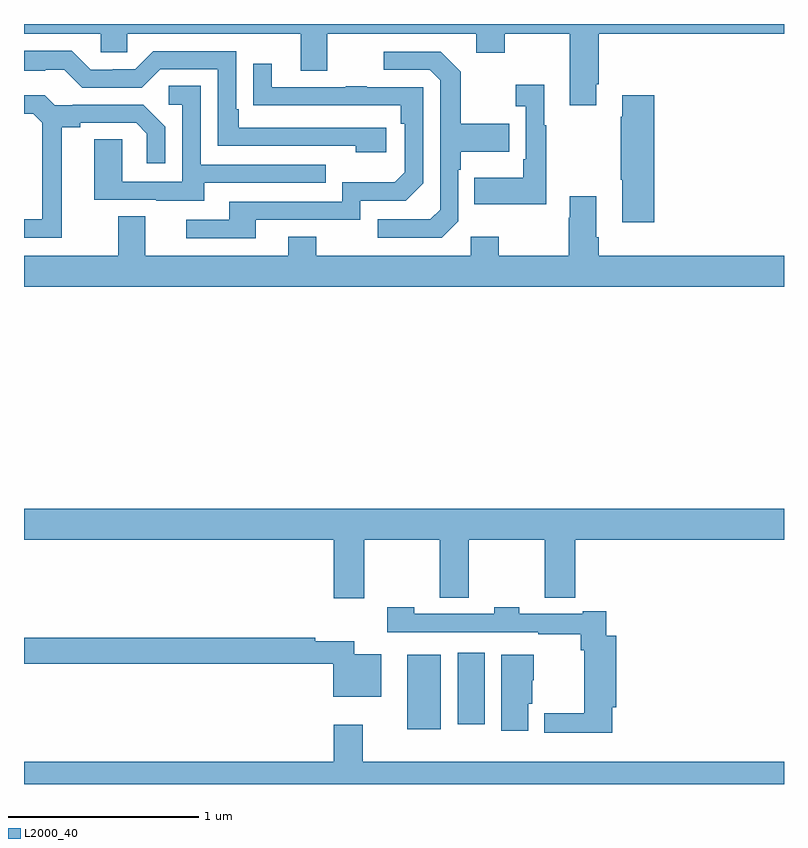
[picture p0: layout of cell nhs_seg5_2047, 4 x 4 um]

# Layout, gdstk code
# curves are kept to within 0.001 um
import gdstk
lib = gdstk.Library(unit=1e-6, precision=1e-09)
def R(c, l, rs):  # rectangles x0, y0, x1, y1
    for r in rs: c.add(gdstk.rectangle(r[:2], r[2:], *l))
def P(c, l, *ps):  # polygons
    for p in ps: c.add(gdstk.Polygon(p, *l))
L2000_40 = (2000, 40)

nhs_seg5_2047 = lib.new_cell('nhs_seg5_2047')
R(nhs_seg5_2047, L2000_40, [(233.018,865.088,233.194,865.48), (233.282,865.113,233.425,865.489)])
P(nhs_seg5_2047, L2000_40, [(234.013,868.483),(234.026,868.483),(234.026,868.748),(235,868.748),(235,868.799),(231,868.799),(231,868.748),(231.405,868.748),(231.405,868.65),(231.543,868.65),(231.543,868.748),(232.457,868.748),(232.457,868.554),(232.597,868.554),(232.597,868.748),(233.381,868.748),(233.381,868.649),(233.529,868.649),(233.529,868.748),(233.873,868.748),(233.873,868.371),(234.013,868.371)],
  [(232.906,868.254),(232.129,868.254),(232.129,868.351),(232.116,868.351),(232.116,868.656),(231.681,868.656),(231.585,868.56),(231.467,868.56),(231.467,868.557),(231.351,868.557),(231.251,868.657),(231,868.657),(231,868.553),(231.113,868.553),(231.113,868.557),(231.213,868.557),(231.306,868.464),(231.621,868.464),(231.717,868.56),(232.02,868.56),(232.02,868.158),(232.745,868.158),(232.745,868.124),(232.906,868.124)],
  [(233.286,867.762),(233.286,868.031),(233.299,868.031),(233.299,868.127),(233.555,868.127),(233.555,868.275),(233.299,868.275),(233.299,868.547),(233.193,868.653),(232.893,868.653),(232.893,868.557),(233.136,868.557),(233.19,868.503),(233.19,867.822),(233.139,867.771),(232.863,867.771),(232.863,867.675),(233.199,867.675)],
  [(232.219,867.768),(232.77,867.768),(232.77,867.87),(233.01,867.87),(233.1,867.96),(233.1,868.467),(232.805,868.467),(232.805,868.472),(232.693,868.472),(232.693,868.467),(232.303,868.467),(232.303,868.591),(232.207,868.591),(232.207,868.372),(232.984,868.371),(232.984,868.274),(233.004,868.274),(233.004,868.02),(232.951,867.967),(232.674,867.967),(232.674,867.864),(232.079,867.864),(232.079,867.768),(231.855,867.768),(231.855,867.672),(232.219,867.672)],
  [(233.749,868.267),(233.737,868.267),(233.737,868.48),(233.589,868.48),(233.589,868.367),(233.64,868.367),(233.64,868.087),(233.628,868.087),(233.628,867.991),(233.371,867.991),(233.371,867.851),(233.749,867.851)],
  [(231.949,867.963),(232.589,867.963),(232.589,868.059),(231.93,868.059),(231.93,868.475),(231.762,868.475),(231.762,868.374),(231.834,868.374),(231.834,867.969),(231.516,867.969),(231.516,868.193),(231.371,868.193),(231.371,867.873),(231.695,867.873),(231.695,867.869),(231.949,867.869)],
  [(231.199,868.256),(231.295,868.256),(231.295,868.278),(231.59,868.278),(231.647,868.221),(231.647,868.065),(231.744,868.065),(231.744,868.258),(231.628,868.374),(231.256,868.374),(231.256,868.371),(231.162,868.371),(231.11,868.423),(231,868.423),(231,868.326),(231.048,868.326),(231.095,868.279),(231.095,867.771),(231,867.771),(231,867.675),(231.199,867.675)],
  [(234.317,868.423),(234.149,868.423),(234.149,868.31),(234.142,868.31),(234.142,867.979),(234.149,867.979),(234.149,867.756),(234.317,867.756)],
  [(235,867.58),(234.026,867.58),(234.026,867.676),(234.013,867.676),(234.013,867.892),(233.873,867.892),(233.873,867.779),(233.866,867.779),(233.866,867.58),(233.499,867.58),(233.499,867.679),(233.352,867.679),(233.352,867.58),(232.539,867.58),(232.539,867.679),(232.391,867.679),(232.391,867.58),(231.637,867.58),(231.637,867.788),(231.497,867.788),(231.497,867.58),(231,867.58),(231,867.416),(235,867.416)],
  [(232.791,866.084),(233.188,866.084),(233.188,865.78),(233.342,865.78),(233.342,866.084),(233.74,866.084),(233.74,865.78),(233.9,865.78),(233.9,866.084),(235,866.084),(235,866.248),(231,866.248),(231,866.084),(232.631,866.084),(232.631,865.776),(232.791,865.776)],
  [(234.095,865.203),(234.116,865.203),(234.116,865.579),(234.065,865.579),(234.065,865.708),(233.942,865.708),(233.942,865.695),(233.607,865.695),(233.607,865.728),(233.475,865.728),(233.475,865.695),(233.055,865.695),(233.055,865.728),(232.911,865.728),(232.911,865.599),(233.707,865.599),(233.707,865.587),(233.929,865.587),(233.929,865.502),(233.948,865.502),(233.948,865.172),(233.739,865.172),(233.739,865.07),(234.095,865.07)],
  [(232.879,865.483),(232.738,865.483),(232.738,865.551),(232.532,865.551),(232.532,865.568),(231,865.568),(231,865.432),(232.628,865.432),(232.628,865.259),(232.879,865.259)],
  [(233.653,865.221),(233.674,865.221),(233.674,865.344),(233.683,865.344),(233.683,865.48),(233.513,865.48),(233.513,865.08),(233.653,865.08)],
  [(231,864.799),(235,864.799),(235,864.916),(232.783,864.916),(232.783,865.111),(232.631,865.111),(232.631,864.916),(231,864.916)])

lib.write_gds('nhs_seg5_2047.gds')
